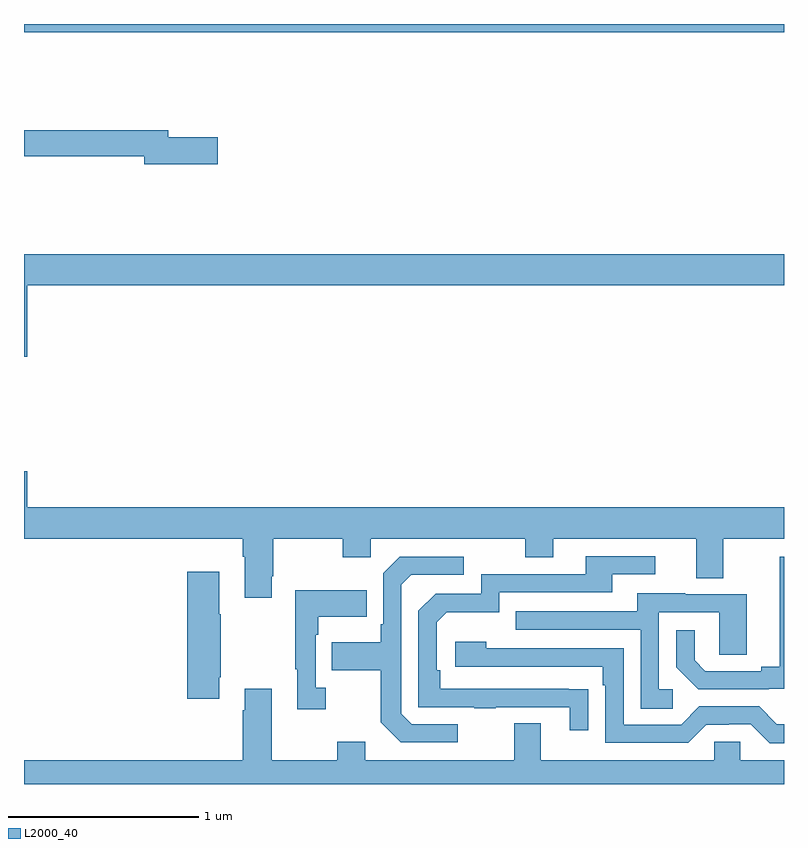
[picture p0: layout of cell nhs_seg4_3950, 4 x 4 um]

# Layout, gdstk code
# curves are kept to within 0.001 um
import gdstk
lib = gdstk.Library(unit=1e-6, precision=1e-09)
def R(c, l, rs):  # rectangles x0, y0, x1, y1
    for r in rs: c.add(gdstk.rectangle(r[:2], r[2:], *l))
def P(c, l, *ps):  # polygons
    for p in ps: c.add(gdstk.Polygon(p, *l))
L2000_40 = (2000, 40)

nhs_seg4_3950 = lib.new_cell('nhs_seg4_3950')
R(nhs_seg4_3950, L2000_40, [(321,760.856,325,760.9)])
P(nhs_seg4_3950, L2000_40, [(322.021,760.304),(321.76,760.304),(321.76,760.34),(321,760.34),(321,760.204),(321.632,760.204),(321.632,760.162),(322.021,760.162)],
  [(321.016,759.524),(325,759.524),(325,759.688),(321,759.688),(321,759.15),(321.016,759.15)],
  [(322.303,757.993),(322.311,757.993),(322.311,758.192),(322.678,758.192),(322.678,758.093),(322.824,758.093),(322.824,758.192),(323.638,758.192),(323.638,758.093),(323.785,758.093),(323.785,758.192),(324.539,758.192),(324.539,757.984),(324.679,757.984),(324.679,758.192),(325,758.192),(325,758.356),(321.016,758.356),(321.016,758.545),(321,758.545),(321,758.192),(322.151,758.192),(322.151,758.096),(322.163,758.096),(322.163,757.881),(322.303,757.881)],
  [(323.969,757.4),(323.192,757.401),(323.192,757.498),(323.172,757.498),(323.172,757.752),(323.225,757.805),(323.502,757.805),(323.502,757.908),(324.097,757.908),(324.097,758.004),(324.322,758.004),(324.322,758.1),(323.957,758.1),(323.957,758.004),(323.406,758.004),(323.406,757.902),(323.166,757.902),(323.076,757.812),(323.076,757.305),(323.371,757.305),(323.371,757.3),(323.483,757.3),(323.483,757.305),(323.873,757.305),(323.873,757.182),(323.969,757.182)],
  [(324.92,757.401),(325,757.401),(325,758.097),(324.977,758.097),(324.977,757.517),(324.881,757.517),(324.881,757.494),(324.586,757.494),(324.529,757.551),(324.529,757.708),(324.432,757.708),(324.432,757.514),(324.548,757.398),(324.92,757.398)],
  [(323.284,757.215),(323.04,757.215),(322.986,757.269),(322.986,757.95),(323.037,758.001),(323.314,758.001),(323.314,758.097),(322.977,758.097),(322.89,758.01),(322.89,757.741),(322.878,757.741),(322.878,757.645),(322.621,757.645),(322.621,757.498),(322.878,757.498),(322.878,757.225),(322.983,757.119),(323.284,757.119)],
  [(322.027,757.462),(322.035,757.462),(322.035,757.793),(322.027,757.793),(322.027,758.017),(321.86,758.017),(321.86,757.35),(322.027,757.35)],
  [(322.588,757.406),(322.536,757.406),(322.536,757.685),(322.549,757.685),(322.549,757.781),(322.805,757.781),(322.805,757.921),(322.428,757.921),(322.428,757.505),(322.439,757.505),(322.439,757.293),(322.588,757.293)],
  [(324.415,757.398),(324.342,757.398),(324.342,757.803),(324.66,757.803),(324.66,757.579),(324.805,757.579),(324.805,757.899),(324.481,757.899),(324.481,757.903),(324.227,757.903),(324.227,757.809),(323.587,757.809),(323.587,757.713),(324.246,757.713),(324.246,757.297),(324.415,757.297)],
  [(325,757.215),(324.963,757.215),(324.87,757.308),(324.555,757.308),(324.459,757.212),(324.156,757.212),(324.156,757.614),(323.432,757.614),(323.432,757.648),(323.271,757.648),(323.271,757.518),(324.047,757.518),(324.047,757.421),(324.06,757.421),(324.06,757.116),(324.495,757.116),(324.591,757.212),(324.71,757.212),(324.71,757.215),(324.825,757.215),(324.925,757.115),(325,757.115)],
  [(325,757.024),(324.771,757.024),(324.771,757.122),(324.633,757.122),(324.633,757.024),(323.719,757.024),(323.719,757.219),(323.579,757.219),(323.579,757.024),(322.795,757.024),(322.795,757.123),(322.648,757.123),(322.648,757.024),(322.303,757.024),(322.303,757.402),(322.163,757.402),(322.163,757.289),(322.151,757.289),(322.151,757.024),(321,757.024),(321,756.9),(325,756.9)])

lib.write_gds('nhs_seg4_3950.gds')
